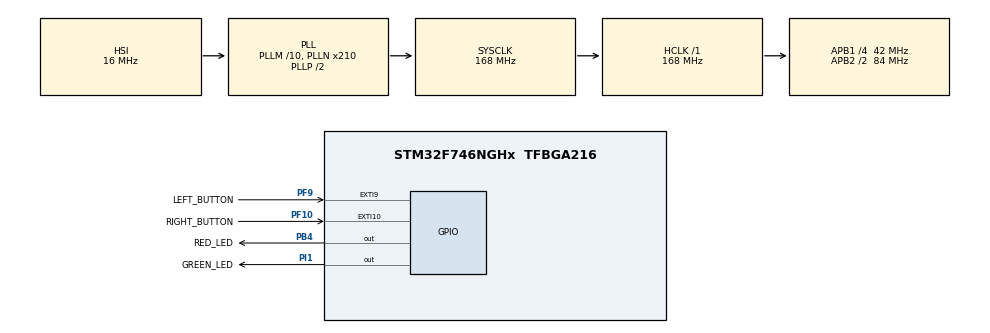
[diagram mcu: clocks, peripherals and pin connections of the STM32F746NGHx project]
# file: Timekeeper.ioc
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Mcu.Family=STM32F7
Mcu.Name=STM32F746NGHx
Mcu.Package=TFBGA216
NVIC.EXTI15_10_IRQn=true\:1\:0\:true\:false\:true\:true\:true
NVIC.EXTI9_5_IRQn=true\:1\:0\:true\:false\:true\:true\:true
NVIC.PriorityGroup=NVIC_PRIORITYGROUP_4
NVIC.TIM5_IRQn=true\:1\:0\:true\:false\:true\:true\:true
NVIC.TIM8_TRG_COM_TIM14_IRQn=true\:0\:0\:false\:false\:true\:false\:true
NVIC.TimeBase=TIM8_TRG_COM_TIM14_IRQn
NVIC.TimeBaseIP=TIM14
PA13.Mode=Serial_Wire
PA13.Signal=SYS_JTMS-SWDIO
PA14.Mode=Serial_Wire
PA14.Signal=SYS_JTCK-SWCLK
PB4.GPIO_Label=RED_LED
PB4.Signal=GPIO_Output
PC14/OSC32_IN.Mode=LSE-External-Clock-Source
PC14/OSC32_IN.Signal=RCC_OSC32_IN
PC15/OSC32_OUT.Mode=LSE-External-Clock-Source
PC15/OSC32_OUT.Signal=RCC_OSC32_OUT
PF10.GPIO_Label=RIGHT_BUTTON
PF10.GPIO_PuPd=GPIO_PULLDOWN
PF10.Signal=GPXTI10
PF9.GPIO_Label=LEFT_BUTTON
PF9.GPIO_PuPd=GPIO_PULLDOWN
PF9.Signal=GPXTI9
PH0/OSC_IN.Mode=HSE-External-Oscillator
PH0/OSC_IN.Signal=RCC_OSC_IN
PH1/OSC_OUT.Mode=HSE-External-Oscillator
PH1/OSC_OUT.Signal=RCC_OSC_OUT
PI1.GPIO_Label=GREEN_LED
PI1.Signal=GPIO_Output
ProjectManager.HeapSize=0x200
ProjectManager.StackSize=0x400
ProjectManager.TargetToolchain=STM32CubeIDE
RCC.AHBFreq_Value=168000000
RCC.APB1CLKDivider=RCC_HCLK_DIV4
RCC.APB1Freq_Value=42000000
RCC.APB1TimFreq_Value=84000000
RCC.APB2CLKDivider=RCC_HCLK_DIV2
RCC.APB2Freq_Value=84000000
RCC.APB2TimFreq_Value=168000000
RCC.CortexFreq_Value=168000000
RCC.HCLKFreq_Value=168000000
RCC.HSE_VALUE=25000000
RCC.HSI_VALUE=16000000
RCC.LSE_VALUE=32768
RCC.PLLM=10
RCC.PLLN=210
RCC.PLLSourceVirtual=RCC_PLLSOURCE_HSI
RCC.SYSCLKFreq_VALUE=168000000
RCC.SYSCLKSource=RCC_SYSCLKSOURCE_PLLCLK
RCC.USBFreq_Value=168000000
RCC.VCOOutputFreq_Value=336000000
TIM5.Period=2000
TIM5.Prescaler=42000
VP_SYS_VS_tim14.Mode=TIM14
VP_TIM5_VS_ClockSourceINT.Mode=Internal
board=STM32F746G-DISCO

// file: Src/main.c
/* USER CODE BEGIN Header */
/**
 ******************************************************************************
 * @file           : main.c
 * @brief          : Main program body
 ******************************************************************************
 * @attention
 *
 * <h2><center>&copy; Copyright (c) 2019 STMicroelectronics.
 * All rights reserved.</center></h2>
 *
 * This software component is licensed by ST under BSD 3-Clause license,
 * the "License"; You may not use this file except in compliance with the
 * License. You may obtain a copy of the License at:
 *                        opensource.org/licenses/BSD-3-Clause
 *
 ******************************************************************************
 */
/* USER CODE END Header */

#include "main.h"

TIM_HandleTypeDef htim5;

/* USER CODE BEGIN PV */
int push = 300;
uint16_t asked_time = 0;
int shifter = 0;

/* USER CODE END PV */

void SystemClock_Config(void);
static void MX_GPIO_Init(void);
static void MX_TIM5_Init(void);

int main(void) {

	/* MCU Configuration--------------------------------------------------------*/

	/* Reset of all peripherals, Initializes the Flash interface and the Systick. */
	HAL_Init();

	/* Configure the system clock */
	SystemClock_Config();

	/* Initialize all configured peripherals */
	MX_GPIO_Init();
	MX_TIM5_Init();

	/* Infinite loop */
	while (1) {

	}
}

void SystemClock_Config(void) {
	RCC_OscInitTypeDef RCC_OscInitStruct = { 0 };
	RCC_ClkInitTypeDef RCC_ClkInitStruct = { 0 };

	/** Configure the main internal regulator output voltage
	 */
	__HAL_RCC_PWR_CLK_ENABLE()
	;
	__HAL_PWR_VOLTAGESCALING_CONFIG(PWR_REGULATOR_VOLTAGE_SCALE2);
	/** Initializes the CPU, AHB and APB busses clocks
	 */
	RCC_OscInitStruct.OscillatorType = RCC_OSCILLATORTYPE_HSI;
	RCC_OscInitStruct.HSIState = RCC_HSI_ON;
	RCC_OscInitStruct.HSICalibrationValue = RCC_HSICALIBRATION_DEFAULT;
	RCC_OscInitStruct.PLL.PLLState = RCC_PLL_ON;
	RCC_OscInitStruct.PLL.PLLSource = RCC_PLLSOURCE_HSI;
	RCC_OscInitStruct.PLL.PLLM = 10;
	RCC_OscInitStruct.PLL.PLLN = 210;
	RCC_OscInitStruct.PLL.PLLP = RCC_PLLP_DIV2;
	RCC_OscInitStruct.PLL.PLLQ = 2;
	if (HAL_RCC_OscConfig(&RCC_OscInitStruct) != HAL_OK) {
		Error_Handler();
	}
	/** Initializes the CPU, AHB and APB busses clocks
	 */
	RCC_ClkInitStruct.ClockType = RCC_CLOCKTYPE_HCLK | RCC_CLOCKTYPE_SYSCLK
			| RCC_CLOCKTYPE_PCLK1 | RCC_CLOCKTYPE_PCLK2;
	RCC_ClkInitStruct.SYSCLKSource = RCC_SYSCLKSOURCE_PLLCLK;
	RCC_ClkInitStruct.AHBCLKDivider = RCC_SYSCLK_DIV1;
	RCC_ClkInitStruct.APB1CLKDivider = RCC_HCLK_DIV4;
	RCC_ClkInitStruct.APB2CLKDivider = RCC_HCLK_DIV2;

	if (HAL_RCC_ClockConfig(&RCC_ClkInitStruct, FLASH_LATENCY_5) != HAL_OK) {
		Error_Handler();
	}
}

static void MX_TIM5_Init(void) {

	TIM_ClockConfigTypeDef sClockSourceConfig = { 0 };
	TIM_MasterConfigTypeDef sMasterConfig = { 0 };

	htim5.Instance = TIM5;
	htim5.Init.Prescaler = 42000;
	htim5.Init.CounterMode = TIM_COUNTERMODE_UP;
	htim5.Init.Period = 2000;
	htim5.Init.ClockDivision = TIM_CLOCKDIVISION_DIV1;
	htim5.Init.AutoReloadPreload = TIM_AUTORELOAD_PRELOAD_DISABLE;
	if (HAL_TIM_Base_Init(&htim5) != HAL_OK) {
		Error_Handler();
	}
	sClockSourceConfig.ClockSource = TIM_CLOCKSOURCE_INTERNAL;
	if (HAL_TIM_ConfigClockSource(&htim5, &sClockSourceConfig) != HAL_OK) {
		Error_Handler();
	}
	sMasterConfig.MasterOutputTrigger = TIM_TRGO_RESET;
	sMasterConfig.MasterSlaveMode = TIM_MASTERSLAVEMODE_DISABLE;
	if (HAL_TIMEx_MasterConfigSynchronization(&htim5, &sMasterConfig)
			!= HAL_OK) {
		Error_Handler();
	}

}

static void MX_GPIO_Init(void) {
	GPIO_InitTypeDef GPIO_InitStruct = { 0 };

	/* GPIO Ports Clock Enable */
	__HAL_RCC_GPIOB_CLK_ENABLE()
	;
	__HAL_RCC_GPIOA_CLK_ENABLE()
	;
	__HAL_RCC_GPIOI_CLK_ENABLE()
	;
	__HAL_RCC_GPIOC_CLK_ENABLE()
	;
	__HAL_RCC_GPIOH_CLK_ENABLE()
	;
	__HAL_RCC_GPIOF_CLK_ENABLE()
	;

	/*Configure GPIO pin Output Level */
	HAL_GPIO_WritePin(RED_LED_GPIO_Port, RED_LED_Pin, GPIO_PIN_RESET);

	/*Configure GPIO pin Output Level */
	HAL_GPIO_WritePin(GREEN_LED_GPIO_Port, GREEN_LED_Pin, GPIO_PIN_RESET);

	/*Configure GPIO pin : RED_LED_Pin */
	GPIO_InitStruct.Pin = RED_LED_Pin;
	GPIO_InitStruct.Mode = GPIO_MODE_OUTPUT_PP;
	GPIO_InitStruct.Pull = GPIO_NOPULL;
	GPIO_InitStruct.Speed = GPIO_SPEED_FREQ_LOW;
	HAL_GPIO_Init(RED_LED_GPIO_Port, &GPIO_InitStruct);

	/*Configure GPIO pin : GREEN_LED_Pin */
	GPIO_InitStruct.Pin = GREEN_LED_Pin;
	GPIO_InitStruct.Mode = GPIO_MODE_OUTPUT_PP;
	GPIO_InitStruct.Pull = GPIO_NOPULL;
	GPIO_InitStruct.Speed = GPIO_SPEED_FREQ_LOW;
	HAL_GPIO_Init(GREEN_LED_GPIO_Port, &GPIO_InitStruct);

	/*Configure GPIO pins : RIGHT_BUTTON_Pin LEFT_BUTTON_Pin */
	GPIO_InitStruct.Pin = RIGHT_BUTTON_Pin | LEFT_BUTTON_Pin;
	GPIO_InitStruct.Mode = GPIO_MODE_IT_RISING;
	GPIO_InitStruct.Pull = GPIO_PULLDOWN;
	HAL_GPIO_Init(GPIOF, &GPIO_InitStruct);

	/* EXTI interrupt init*/
	HAL_NVIC_SetPriority(EXTI9_5_IRQn, 1, 0);
	HAL_NVIC_EnableIRQ(EXTI9_5_IRQn);

	HAL_NVIC_SetPriority(EXTI15_10_IRQn, 1, 0);
	HAL_NVIC_EnableIRQ(EXTI15_10_IRQn);

}

/* USER CODE BEGIN 4 */

HAL_GPIO_EXTI_Callback(uint16_t GPIO_Pin) {

	if (GPIO_Pin == LEFT_BUTTON_Pin && shifter == 0) {

		if (HAL_GetTick() - 300 < push) {
			return;
		}
		asked_time += 2000;

	}

	if (GPIO_Pin == RIGHT_BUTTON_Pin && shifter == 0) {

		if (HAL_GetTick() - 300 < push) {
			return;
		}
		shifter = 1;
		HAL_TIM_Base_Start_IT(&htim5);

	}

}

/* USER CODE END 4 */

void HAL_TIM_PeriodElapsedCallback(TIM_HandleTypeDef *htim) {
	/* USER CODE BEGIN Callback 0 */
	if (shifter == 0) {
		if (htim->Instance == TIM5) {
			HAL_GPIO_TogglePin(RED_LED_GPIO_Port, RED_LED_Pin);
		}
	}else if (shifter == 1) {
		if (htim->Instance == TIM5 && asked_time > 0 && shifter == 1) {
			asked_time -= 1000;
			HAL_GPIO_TogglePin(RED_LED_GPIO_Port, RED_LED_Pin);
			if(asked_time <= 0){
						shifter = 0;
						HAL_TIM_Base_Stop_IT(&htim5);
		}
		}
	}

	/* USER CODE END Callback 0 */
	if (htim->Instance == TIM14) {
		HAL_IncTick();
	}
}

void Error_Handler(void) {
}

/************************ (C) COPYRIGHT STMicroelectronics *****END OF FILE****/
